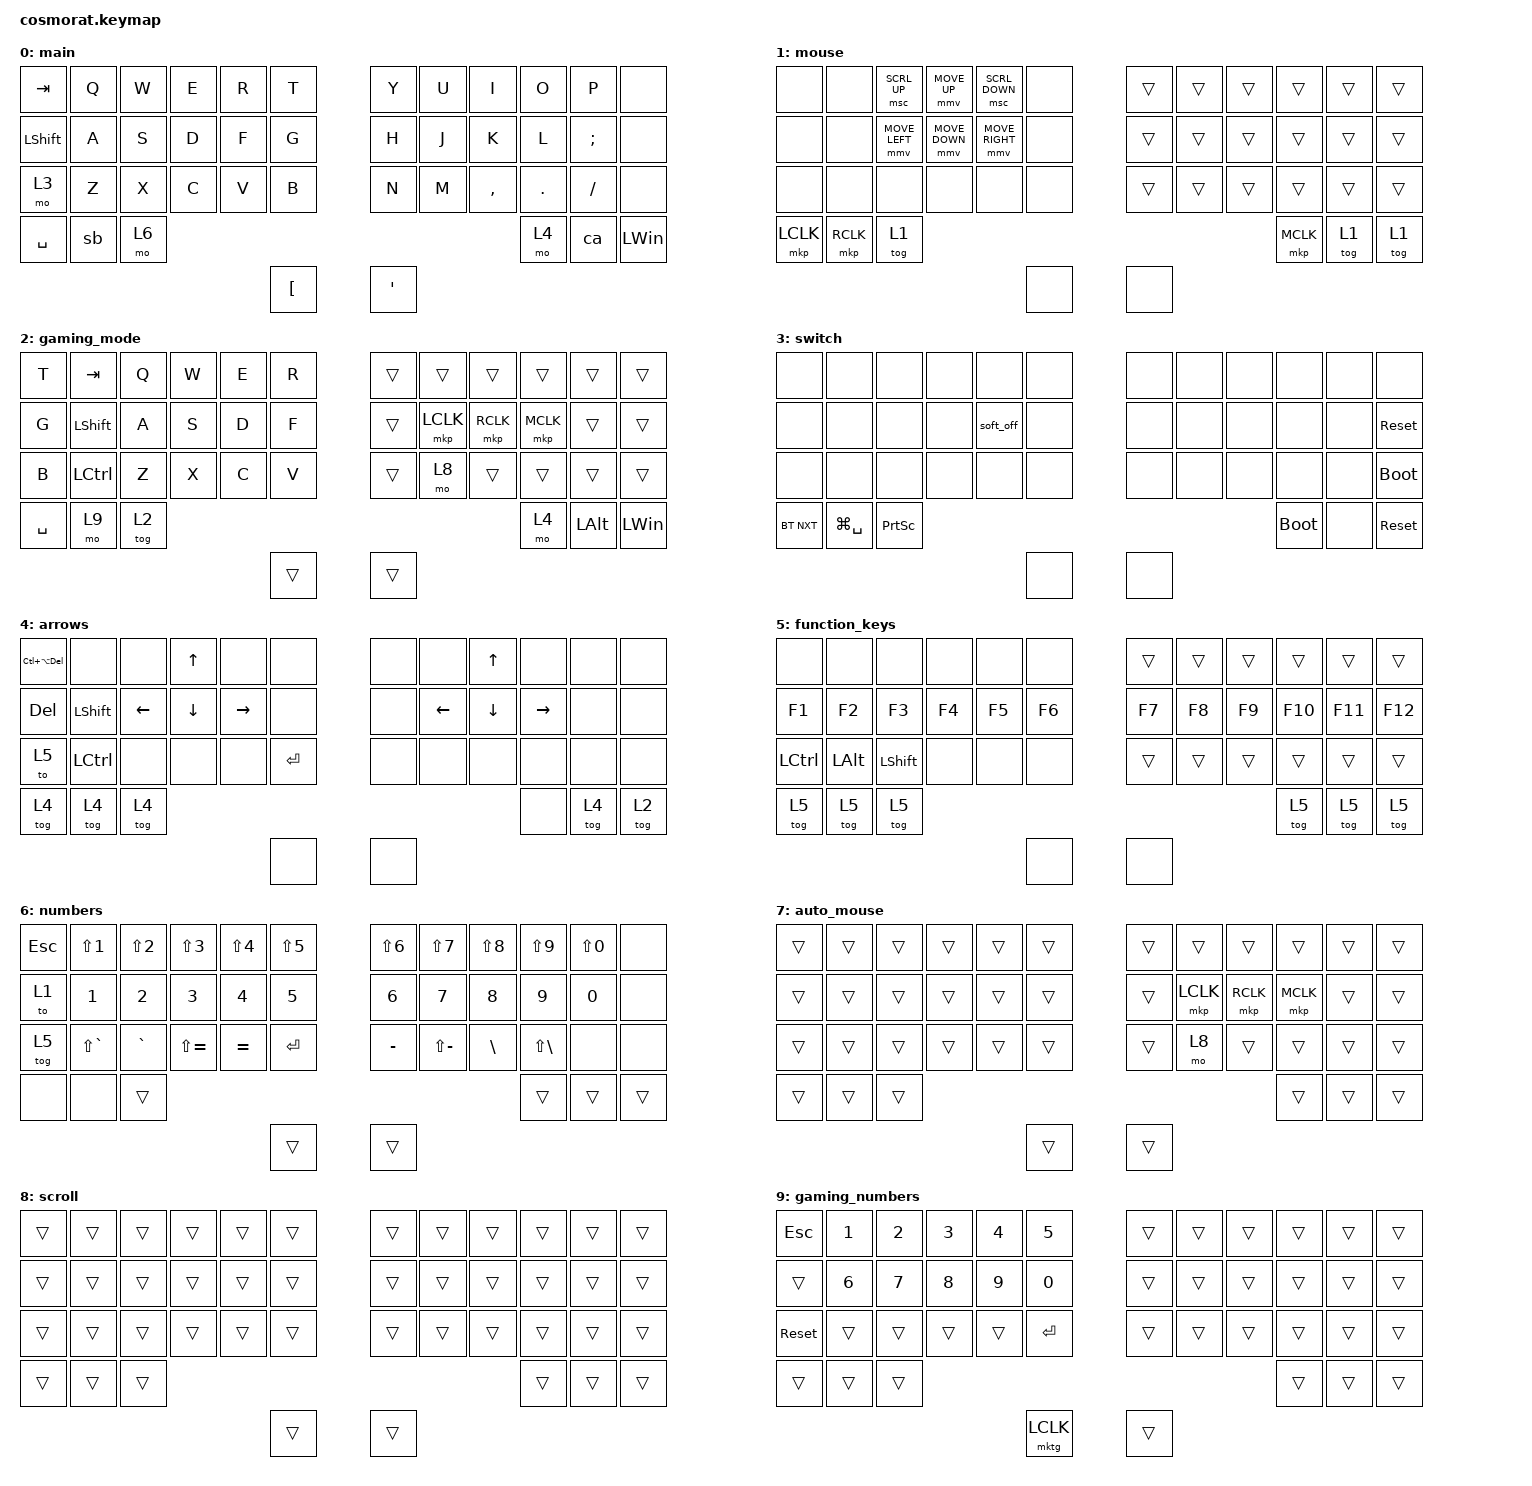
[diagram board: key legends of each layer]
#include <behaviors/mouse_key_toggle.dtsi>
#include <behaviors.dtsi>
#include <dt-bindings/zmk/bt.h>
#include <dt-bindings/zmk/keys.h>
#include <dt-bindings/zmk/pointing.h>

&soft_off { hold-time-ms = <3000>; };

&mt {
    flavor = "balanced";
    require-prior-idle-ms = <200>;
    tapping-term-ms = <200>;
    quick-tap-ms = <175>;
};

/ {
    behaviors {
        as: auto_shift {
            compatible = "zmk,behavior-hold-tap";
            label = "Auto Shift";
            bindings = <&kp>, <&kp>;

            #binding-cells = <2>;
            quick-tap-ms = <0>;
            tapping-term-ms = <200>;
            flavor = "hold-preferred";
            require-prior-idle-ms = <125>;
        };

        ca: ctrl_alt {
            compatible = "zmk,behavior-tap-dance";
            #binding-cells = <0>;
            tapping-term-ms = <300>;
            bindings = <&kp LCTRL>, <&kp LALT>;
        };

        sb: shift_backspase {
            compatible = "zmk,behavior-mod-morph";
            label = "shift_BACKSPASE";
            bindings = <&kp BACKSPACE>, <&kp DELETE>;

            #binding-cells = <0>;
            mods = <(MOD_LSFT)>;
        };
    };

    combos {
        compatible = "zmk,combos";

        rsb {
            bindings = <&kp RIGHT_BRACKET>;
            key-positions = <42 43>;
            timeout-ms = <100>;
            require-prior-idle-ms = <100>;
            layers = <0>;
        };

        reset {
            bindings = <&sys_reset>;
            key-positions = <43 23>;
            timeout-ms = <200>;
            require-prior-idle-ms = <200>;
        };

        bootloader {
            bindings = <&bootloader>;
            key-positions = <43 35>;
            timeout-ms = <200>;
            require-prior-idle-ms = <200>;
        };
    };

    keymap {
        compatible = "zmk,keymap";

        main {
            bindings = <
&kp TAB         &kp Q  &kp W  &kp E  &kp R  &kp T         &kp Y  &kp U  &kp I             &kp O    &kp P     &none
&kp LEFT_SHIFT  &kp A  &kp S  &kp D  &kp F  &kp G         &kp H  &kp J  &kp K             &kp L    &kp SEMI  &none
&mo 3           &kp Z  &kp X  &kp C  &kp V  &kp B         &kp N  &kp M  &kp COMMA         &kp DOT  &kp FSLH  &none
&kp SPACE       &sb    &mo 6  &mo 4  &ca    &kp LEFT_WIN
                                                                        &kp LEFT_BRACKET  &kp SQT
            >;
        };

        mouse {
            bindings = <
&none      &none      &msc SCRL_UP    &mmv MOVE_UP    &msc SCRL_DOWN   &none   &trans  &trans  &trans  &trans  &trans  &trans
&none      &none      &mmv MOVE_LEFT  &mmv MOVE_DOWN  &mmv MOVE_RIGHT  &none   &trans  &trans  &trans  &trans  &trans  &trans
&none      &none      &none           &none           &none            &none   &trans  &trans  &trans  &trans  &trans  &trans
&mkp LCLK  &mkp RCLK  &tog 1          &mkp MCLK       &tog 1           &tog 1
                                                                                               &none   &none
            >;
        };

        gaming_mode {
            bindings = <
&kp T      &kp TAB    &kp Q   &kp W  &kp E         &kp R         &trans  &trans     &trans     &trans     &trans  &trans
&kp G      &kp LSHFT  &kp A   &kp S  &kp D         &kp F         &trans  &mkp LCLK  &mkp RCLK  &mkp MCLK  &trans  &trans
&kp B      &kp LCTRL  &kp Z   &kp X  &kp C         &kp V         &trans  &mo 8      &trans     &trans     &trans  &trans
&kp SPACE  &mo 9      &tog 2  &mo 4  &kp LEFT_ALT  &kp LEFT_WIN
                                                                                    &trans     &trans
            >;
        };

        switch {
            bindings = <
&none       &none          &none            &none        &none      &none       &none  &none  &none  &none  &none  &none
&none       &none          &none            &none        &soft_off  &none       &none  &none  &none  &none  &none  &sys_reset
&none       &none          &none            &none        &none      &none       &none  &none  &none  &none  &none  &bootloader
&bt BT_NXT  &kp LG(SPACE)  &kp PRINTSCREEN  &bootloader  &none      &sys_reset
                                                                                              &none  &none
            >;
        };

        arrows {
            bindings = <
&kp LC(LA(DELETE))  &none           &none     &kp UP_ARROW    &none      &none      &none  &none           &kp UP_ARROW    &none            &none  &none
&kp DEL             &kp LEFT_SHIFT  &kp LEFT  &kp DOWN_ARROW  &kp RIGHT  &none      &none  &kp LEFT_ARROW  &kp DOWN_ARROW  &kp RIGHT_ARROW  &none  &none
&to 5               &kp LCTRL       &none     &none           &none      &kp ENTER  &none  &none           &none           &none            &none  &none
&tog 4              &tog 4          &tog 4    &none           &tog 4     &tog 2
                                                                                                           &none           &none
            >;
        };

        function_keys {
            bindings = <
&none      &none     &none      &none   &none   &none   &trans  &trans  &trans  &trans   &trans   &trans
&kp F1     &kp F2    &kp F3     &kp F4  &kp F5  &kp F6  &kp F7  &kp F8  &kp F9  &kp F10  &kp F11  &kp F12
&kp LCTRL  &kp LALT  &kp LSHFT  &none   &none   &none   &trans  &trans  &trans  &trans   &trans   &trans
&tog 5     &tog 5    &tog 5     &tog 5  &tog 5  &tog 5
                                                                        &none   &none
            >;
        };

        numbers {
            bindings = <
&kp ESC  &kp LS(N1)     &kp LS(N2)  &kp LS(N3)     &kp LS(N4)  &kp LS(N5)  &kp LS(NUMBER_6)  &kp LS(N7)     &kp LS(N8)     &kp LS(N9)         &kp LS(N0)  &none
&to 1    &kp N1         &kp N2      &kp N3         &kp N4      &kp N5      &kp N6            &kp N7         &kp N8         &kp N9             &kp N0      &none
&tog 5   &kp LS(GRAVE)  &kp GRAVE   &kp LS(EQUAL)  &kp EQUAL   &kp ENTER   &kp MINUS         &kp LS(MINUS)  &kp BACKSLASH  &kp LS(BACKSLASH)  &none       &none
&none    &none          &trans      &trans         &trans      &trans
                                                                                                            &trans         &trans
            >;
        };

        auto_mouse {
            bindings = <
&trans  &trans  &trans  &trans  &trans  &trans  &trans  &trans     &trans     &trans     &trans  &trans
&trans  &trans  &trans  &trans  &trans  &trans  &trans  &mkp LCLK  &mkp RCLK  &mkp MCLK  &trans  &trans
&trans  &trans  &trans  &trans  &trans  &trans  &trans  &mo 8      &trans     &trans     &trans  &trans
&trans  &trans  &trans  &trans  &trans  &trans
                                                                   &trans     &trans
            >;
        };

        scroll {
            bindings = <
&trans  &trans  &trans  &trans  &trans  &trans  &trans  &trans  &trans  &trans  &trans  &trans
&trans  &trans  &trans  &trans  &trans  &trans  &trans  &trans  &trans  &trans  &trans  &trans
&trans  &trans  &trans  &trans  &trans  &trans  &trans  &trans  &trans  &trans  &trans  &trans
&trans  &trans  &trans  &trans  &trans  &trans
                                                                &trans  &trans
            >;
        };

        gaming_numbers {
            bindings = <
&kp ESC     &kp N1  &kp N2  &kp N3  &kp N4  &kp N5   &trans  &trans  &trans      &trans  &trans  &trans
&trans      &kp N6  &kp N7  &kp N8  &kp N9  &kp N0   &trans  &trans  &trans      &trans  &trans  &trans
&sys_reset  &trans  &trans  &trans  &trans  &kp RET  &trans  &trans  &trans      &trans  &trans  &trans
&trans      &trans  &trans  &trans  &trans  &trans
                                                                     &mktg LCLK  &trans
            >;
        };
    };
};
